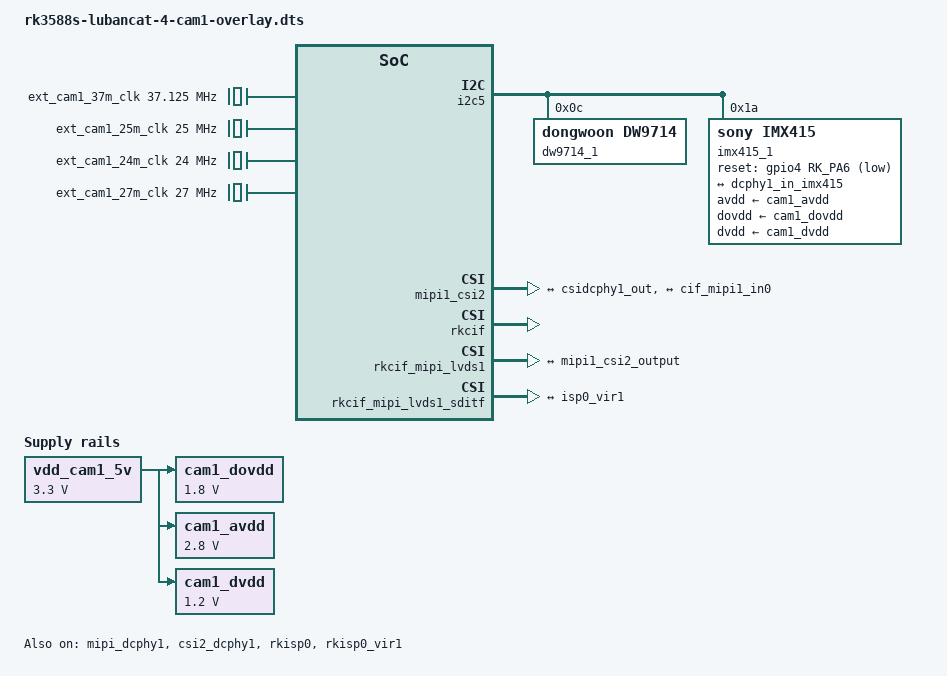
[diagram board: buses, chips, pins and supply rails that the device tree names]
/dts-v1/;
/plugin/;

#include <dt-bindings/usb/pd.h>
#include <dt-bindings/gpio/gpio.h>
#include <dt-bindings/pwm/pwm.h>
#include <dt-bindings/pinctrl/rockchip.h>
#include <dt-bindings/input/rk-input.h>
#include <dt-bindings/display/drm_mipi_dsi.h>
#include <dt-bindings/display/rockchip_vop.h>
#include <dt-bindings/sensor-dev.h>

/ {
	fragment@0 {
		target-path = "/";
		
		__overlay__ {
			ext_cam1_37m_clk: external-camera-37m-clock {
				compatible = "fixed-clock";
				clock-frequency = <37125000>;
				clock-output-names = "ext_cam1_37m_clk";
				#clock-cells = <0>;
			};

			ext_cam1_25m_clk: external-camera-25m-clock {
				compatible = "fixed-clock";
				clock-frequency = <25000000>;
				clock-output-names = "ext_cam1_25m_clk";
				#clock-cells = <0>;
			};

			ext_cam1_24m_clk: external-camera-24m-clock {
				compatible = "fixed-clock";
				#clock-cells = <0>;
				clock-frequency = <24000000>;
	        	clock-output-names = "ext_cam1_24m_clk";
			};

			ext_cam1_27m_clk: external-camera-27m-clock {
				compatible = "fixed-clock";
				#clock-cells = <0>;
				clock-frequency = <27000000>;
				clock-output-names = "ext_cam1_27m_clk";
			};

			vdd_cam1_5v: vdd-cam1-5v-regulator {
				compatible = "regulator-fixed";
				regulator-name = "vdd_cam1_5v";
				regulator-always-on;
				regulator-boot-on;
				regulator-min-microvolt = <3300000>;
				regulator-max-microvolt = <3300000>;
			};

			cam1_dovdd: cam1-dovdd {
				compatible = "regulator-fixed";
				regulator-name = "cam1_dovdd";
				regulator-always-on;
				regulator-boot-on;
				regulator-min-microvolt = <1800000>;
				regulator-max-microvolt = <1800000>;
				vin-supply = <&vdd_cam1_5v>;
			};

			cam1_avdd: cam1-avdd {
				compatible = "regulator-fixed";
				regulator-name = "cam1_avdd";
				regulator-always-on;
				regulator-boot-on;
				regulator-min-microvolt = <2800000>;
				regulator-max-microvolt = <2800000>;
				vin-supply = <&vdd_cam1_5v>;
			};

			cam1_dvdd: cam1-dvdd {
				compatible = "regulator-fixed";
				regulator-name = "cam1_dvdd";
				regulator-always-on;
				regulator-boot-on;
				regulator-min-microvolt = <1200000>;
				regulator-max-microvolt = <1200000>;
				vin-supply = <&vdd_cam1_5v>;
			};
		};
	};

	/* Link path: sensor->csi2_dphy1->mipi1_csi2->rkcif_mipi_lvds1--->rkcif_mipi_lvds1_sditf->rkisp0_vir1 */
	fragment@1 {
		target = <&i2c5>;	

		__overlay__ {
			status = "okay";
			pinctrl-names = "default";
			pinctrl-0 = <&i2c5m3_xfer>;
			#address-cells = <1>;
			#size-cells = <0>;
			
			dw9714_1: dw9714-1@c {
				status = "okay";
				compatible = "dongwoon,dw9714";
				reg = <0xc>;
				rockchip,camera-module-index = <0>;
				rockchip,vcm-max-current = <100>;
				rockchip,vcm-start-current = <0>;
				rockchip,vcm-rated-current = <100>;
				rockchip,vcm-step-mode = <0xd>;
				rockchip,vcm-dlc-enable = <0>;
				rockchip,vcm-mclk = <0>;	
				rockchip,vcm-t-src = <0>;
				rockchip,camera-module-facing = "back";
			};	

			ov5647_1: ov5647-1@36 {
				compatible = "ovti,ov5647";
				status = "disabled";
				reg = <0x36>;
				clocks = <&ext_cam1_25m_clk>;
				clock-names = "ext_cam1_25m_clk";
				pwdn-gpios = <&gpio4 RK_PA5 GPIO_ACTIVE_LOW>;
				lens-focus = <&dw9714_1>;			
				port {
					ov5647_out1: endpoint {
						remote-endpoint = <&dcphy1_in_ov5647>;
						data-lanes = <1 2>;
					};
				};
			};

			ov5648_1: ov5648-1@36 {
				compatible = "ovti,ov5648";
				status = "disabled";
				reg = <0x36>;
				clocks = <&ext_cam1_24m_clk>;
				clock-names = "xvclk";
				dovdd-supply= <&cam1_dovdd>; /* 1.8v */
				avdd-supply = <&cam1_avdd>;  /* 2.8v */
				dvdd-supply = <&cam1_dvdd>;  /* 1.2v */
				pwdn-gpios = <&gpio4 RK_PA5 GPIO_ACTIVE_HIGH>;
				reset-gpios = <&gpio4 RK_PA6 GPIO_ACTIVE_LOW>;
				rotation = <180>;			

				rockchip,camera-module-index = <1>;
				rockchip,camera-module-facing = "back";
				rockchip,camera-module-name = "THDS11073";
				rockchip,camera-module-lens-name = "Largan-40122a1";
				lens-focus = <&dw9714_1>;			
				port {
					/* MIPI CSI-2 bus endpoint */
					ov5648_out1: endpoint {
						remote-endpoint = <&dcphy1_in_ov5648>;
						clock-lanes = <0>;
						data-lanes = <1 2>;
					};
				};
			};

			ov8858_1: ov8858-1@36 {
				compatible = "ovti,ov8858";
				status = "disabled";
				reg = <0x36>;
				clocks = <&ext_cam1_24m_clk>;
				clock-names = "xvclk";
				dovdd-supply= <&cam1_dovdd>; /* 1.8v */
				avdd-supply = <&cam1_avdd>;  /* 2.8v */
				dvdd-supply = <&cam1_dvdd>;  /* 1.2v */
				pwdn-gpios = <&gpio4 RK_PA5 GPIO_ACTIVE_HIGH>;
				reset-gpios = <&gpio4 RK_PA6 GPIO_ACTIVE_HIGH>;
				rotation = <180>;			

				rockchip,camera-module-index = <1>;
				rockchip,camera-module-facing = "back";
				rockchip,camera-module-name = "HS5885-BNSM1018-V01";
				rockchip,camera-module-lens-name = "default";
				lens-focus = <&dw9714_1>;			
				port {
					/* MIPI CSI-2 bus endpoint */
					ov8858_out1: endpoint {
						remote-endpoint = <&dcphy1_in_ov8858>;
						clock-lanes = <0>;
						data-lanes = <1 2>;
					};
				};
			};

			ov13850_1: ov13850-1@10 {
				compatible = "ovti,ov13850";
				status = "disabled";
				reg = <0x10>;
				clocks = <&ext_cam1_24m_clk>;
				clock-names = "xvclk";
				dovdd-supply= <&cam1_dovdd>; /* 1.8v */
				avdd-supply = <&cam1_avdd>;  /* 2.8v */
				dvdd-supply = <&cam1_dvdd>;  /* 1.2v */
				pwdn-gpios = <&gpio4 RK_PA5 GPIO_ACTIVE_HIGH>;
				reset-gpios = <&gpio4 RK_PA6 GPIO_ACTIVE_HIGH>;
				rotation = <180>;			

				rockchip,camera-module-index = <1>;
				rockchip,camera-module-facing = "back";
				rockchip,camera-module-name = "ZC-OV13850R2A-V1";
				rockchip,camera-module-lens-name = "Largan-50064B31";
				lens-focus = <&dw9714_1>;			
				port {
					/* MIPI CSI-2 bus endpoint */
					ov13850_out1: endpoint {
						remote-endpoint = <&dcphy1_in_ov13850>;
						clock-lanes = <0>;
						data-lanes = <1 2>;
					};
				};
			};

			imx415_1: imx415-1@1a {
				compatible = "sony,imx415";
				status = "okay";
				reg = <0x1a>;
				clocks = <&ext_cam1_37m_clk>;
				clock-names = "xvclk";
				avdd-supply = <&cam1_avdd>;
				dovdd-supply = <&cam1_dovdd>;
				dvdd-supply = <&cam1_dvdd>;
				reset-gpios = <&gpio4 RK_PA6 GPIO_ACTIVE_LOW>;	

				rockchip,camera-module-index = <1>;
				rockchip,camera-module-facing = "back";
				rockchip,camera-module-name = "CMK-OT2022-PX1";
				rockchip,camera-module-lens-name = "IR0147-50IRC-8M-F20";
				port {
					imx415_out1: endpoint {
						remote-endpoint = <&dcphy1_in_imx415>;
						data-lanes = <1 2 3 4>;
					};
				};
			};
		};
	};

	fragment@2 {
		target = <&mipi_dcphy1>;	

		__overlay__ {
			status = "okay";
		};
	};

	fragment@3 {
		target = <&csi2_dcphy1>;	

		__overlay__ {
			status = "okay";

			ports {
				#address-cells = <1>;
				#size-cells = <0>;			
				port@0 {
					reg = <0>;
					#address-cells = <1>;
					#size-cells = <0>;			
					dcphy1_in_ov5648: endpoint@1 {
						reg = <1>;
						remote-endpoint = <&ov5648_out1>;
						data-lanes = <1 2>;
					};			
					dcphy1_in_ov8858: endpoint@2 {
						reg = <2>;
						remote-endpoint = <&ov8858_out1>;
						data-lanes = <1 2>;
					};			
					dcphy1_in_ov13850: endpoint@3 {
						reg = <3>;
						remote-endpoint = <&ov13850_out1>;
						data-lanes = <1 2>;
					};

					dcphy1_in_ov5647: endpoint@4 {
						reg = <4>;
						remote-endpoint = <&ov5647_out1>;
						data-lanes = <1 2>;
					};			
					dcphy1_in_imx415: endpoint@5 {
						reg = <5>;
						remote-endpoint = <&imx415_out1>;
						data-lanes = <1 2 3 4>;
					};
				};			
				port@1 {
					reg = <1>;
					#address-cells = <1>;
					#size-cells = <0>;			
					csidcphy1_out: endpoint@0 {
						reg = <0>;
						remote-endpoint = <&mipi1_csi2_input>;
					};
				};
			};
		};
	};

	fragment@4 {
		target = <&mipi1_csi2>;	

		__overlay__ {
			status = "okay";

			ports {
				#address-cells = <1>;
				#size-cells = <0>;			
				port@0 {
					reg = <0>;
					#address-cells = <1>;
					#size-cells = <0>;			
					mipi1_csi2_input: endpoint@1 {
						reg = <1>;
						remote-endpoint = <&csidcphy1_out>;
					};
				};			
				port@1 {
					reg = <1>;
					#address-cells = <1>;
					#size-cells = <0>;			
					mipi1_csi2_output: endpoint@0 {
						reg = <0>;
						remote-endpoint = <&cif_mipi1_in0>;
					};
				};
			};
		};
	};

	fragment@5 {
		target = <&rkcif>;	

		__overlay__ {
			status = "okay";
		};
	};

	fragment@6 {
		target = <&rkcif_mipi_lvds1>;	

		__overlay__ {
			status = "okay";

			port {
				cif_mipi1_in0: endpoint {
					remote-endpoint = <&mipi1_csi2_output>;
				};
			};
		};
	};

	fragment@7 {
		target = <&rkcif_mipi_lvds1_sditf>;	

		__overlay__ {
			status = "okay";

			port {
				mipi_lvds1_sditf: endpoint {
					remote-endpoint = <&isp0_vir1>;
				};
			};
		};
	};

	fragment@8 {
		target = <&rkcif_mmu>;	

		__overlay__ {
			status = "okay";
		};
	};

	fragment@9 {
		target = <&rkisp0>;	

		__overlay__ {
			status = "okay";
		};
	};

	fragment@10 {
		target = <&isp0_mmu>;	

		__overlay__ {
			status = "okay";
		};
	};

	fragment@11 {
		target = <&rkisp0_vir1>;	

		__overlay__ {
			status = "okay";

			port {
				#address-cells = <1>;
				#size-cells = <0>;			
				isp0_vir1: endpoint@0 {
					reg = <0>;
					remote-endpoint = <&mipi_lvds1_sditf>;
				};
			};
		};
	};
};

